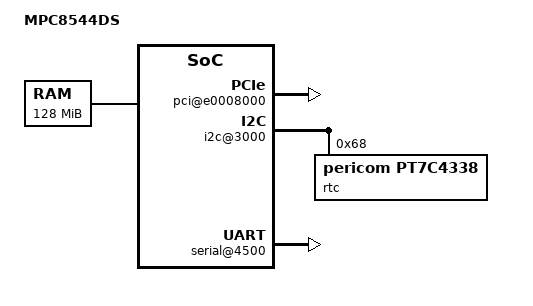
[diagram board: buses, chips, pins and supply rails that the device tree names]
/dts-v1/;

/ {
	compatible = "MPC8544DS", "MPC85xxDS";
	model = "MPC8544DS";
	#size-cells = <0x02>;
	#address-cells = <0x02>;

	platform@ff800000 {
		interrupt-parent = <0x8002>;
		ranges = <0x00 0x00 0xff800000 0x800000>;
		#address-cells = <0x01>;
		#size-cells = <0x01>;
		compatible = "qemu,platform", "simple-bus";
	};

	pci@e0008000 {
		#address-cells = <0x03>;
		#size-cells = <0x02>;
		#interrupt-cells = <0x01>;
		clock-frequency = <0x3f940aa>;
		reg = <0x00 0xe0008000 0x00 0x1000>;
		ranges = <0x2000000 0x00 0xc0000000 0x00 0xc0000000 0x00 0x20000000 0x1000000 0x00 0x00 0x00 0xe1000000 0x00 0x10000>;
		fsl,msi = <0x8003>;
		bus-range = <0x00 0xff>;
		interrupts = <0x18 0x02>;
		interrupt-parent = <0x8002>;
		interrupt-map = <0x8800 0x00 0x00 0x01 0x8002 0x02 0x01 0x8800 0x00 0x00 0x02 0x8002 0x03 0x01 0x8800 0x00 0x00 0x03 0x8002 0x04 0x01 0x8800 0x00 0x00 0x04 0x8002 0x01 0x01 0x9000 0x00 0x00 0x01 0x8002 0x03 0x01 0x9000 0x00 0x00 0x02 0x8002 0x04 0x01 0x9000 0x00 0x00 0x03 0x8002 0x01 0x01 0x9000 0x00 0x00 0x04 0x8002 0x02 0x01>;
		interrupt-map-mask = <0xf800 0x00 0x00 0x07>;
		device_type = "pci";
		compatible = "fsl,mpc8540-pci";
		cell-index = <0x00>;
	};

	soc@e0000000 {
		bus-frequency = <0x00>;
		ranges = <0x00 0x00 0xe0000000 0x100000>;
		#size-cells = <0x01>;
		#address-cells = <0x01>;
		compatible = "fsl,mpc8544-immr", "simple-bus";
		device_type = "soc";

		msi@41600 {
			linux,phandle = <0x8003>;
			phandle = <0x8003>;
			interrupts = <0xe0 0x00 0xe1 0x00 0xe2 0x00 0xe3 0x00 0xe4 0x00 0xe5 0x00 0xe6 0x00 0xe7 0x00>;
			interrupt-parent = <0x8002>;
			msi-available-ranges = <0x00 0x100>;
			reg = <0x41600 0x200>;
			compatible = "fsl,mpic-msi";
		};

		global-utilities@e0000 {
			fsl,has-rstcr;
			reg = <0xe0000 0x1000>;
			compatible = "fsl,mpc8544-guts";
		};

		i2c@3000 {
			#address-cells = <0x01>;
			#size-cells = <0x00>;
			interrupt-parent = <0x8002>;
			interrupts = <0x2b 0x02>;
			cell-index = <0x00>;
			reg = <0x3000 0x14>;
			compatible = "fsl-i2c";
			device_type = "i2c";

			rtc@68 {
				reg = <0x68>;
				compatible = "pericom,pt7c4338";
			};
		};

		serial@4500 {
			interrupt-parent = <0x8002>;
			interrupts = <0x2a 0x02>;
			clock-frequency = <0x17d78400>;
			cell-index = <0x00>;
			reg = <0x4500 0x100>;
			compatible = "ns16550";
			device_type = "serial";
		};

		pic@40000 {
			interrupt-controller;
			linux,phandle = <0x8002>;
			phandle = <0x8002>;
			#interrupt-cells = <0x02>;
			#address-cells = <0x00>;
			reg = <0x40000 0x40000>;
			compatible = "fsl,mpic";
			device_type = "open-pic";
		};
	};

	aliases {
		pci0 = "/pci@e0008000";
		rtc = "/soc@e0000000/i2c@3000/rtc@68";
		i2c = "/soc@e0000000/i2c@3000";
		serial0 = "/soc@e0000000/serial@4500";
	};

	cpus {
		#size-cells = <0x00>;
		#address-cells = <0x01>;

		PowerPC,8544@0 {
			status = "okay";
			bus-frequency = <0x00>;
			i-cache-size = <0x8000>;
			d-cache-size = <0x8000>;
			i-cache-line-size = <0x20>;
			d-cache-line-size = <0x20>;
			reg = <0x00>;
			device_type = "cpu";
			timebase-frequency = <0x17d78400>;
			clock-frequency = <0x17d78400>;
		};
	};

	chosen {
		stdout-path = "/soc@e0000000/serial@4500";
		linux,stdout-path = "/soc@e0000000/serial@4500";
		rng-seed = <0xa39348fc 0xc917861f 0xa2fa4e37 0x20340f9c 0x6bf5185f 0xd1923193 0x5303b054 0xfa3caa70>;
		bootargs = [00];
		qemu,boot-kernel = <0x00 0x00 0x00 0x00>;
	};

	memory {
		reg = <0x00 0x00 0x00 0x8000000>;
		device_type = "memory";
	};
};
